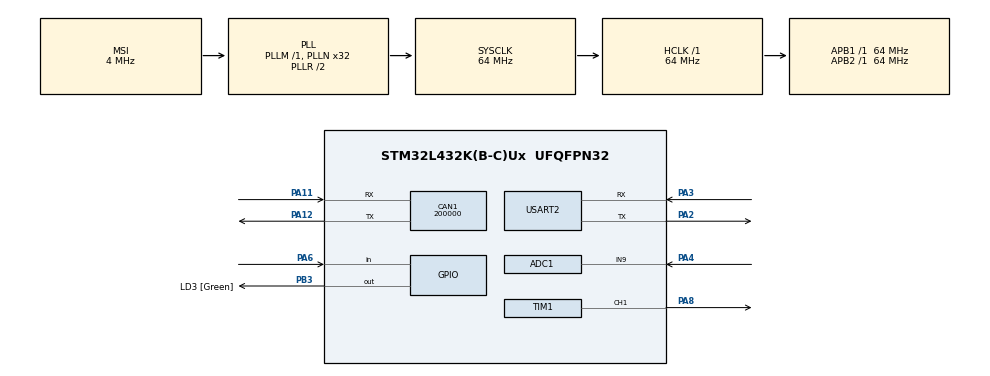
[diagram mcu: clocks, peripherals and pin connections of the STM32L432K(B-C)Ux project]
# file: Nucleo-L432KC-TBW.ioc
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ADC1.Channel-0\#ChannelRegularConversion=ADC_CHANNEL_9
ADC1.ClockPrescaler=ADC_CLOCK_ASYNC_DIV64
ADC1.ContinuousConvMode=DISABLE
ADC1.NbrOfConversionFlag=1
ADC1.OffsetNumber-0\#ChannelRegularConversion=ADC_OFFSET_NONE
ADC1.Rank-0\#ChannelRegularConversion=1
ADC1.SamplingTime-0\#ChannelRegularConversion=ADC_SAMPLETIME_12CYCLES_5
ADC1.master=1
CAN1.ABOM=ENABLE
CAN1.BS1=CAN_BS1_11TQ
CAN1.BS2=CAN_BS2_8TQ
CAN1.CalculateBaudRate=200000
CAN1.CalculateTimeBit=5000
CAN1.CalculateTimeQuantum=250.0
Mcu.Family=STM32L4
Mcu.Name=STM32L432K(B-C)Ux
Mcu.Package=UFQFPN32
NVIC.CAN1_RX0_IRQn=true\:0\:0\:false\:false\:true\:true\:true\:true
NVIC.CAN1_RX1_IRQn=true\:0\:0\:false\:false\:true\:true\:true\:true
NVIC.PriorityGroup=NVIC_PRIORITYGROUP_4
NVIC.TIM1_UP_TIM16_IRQn=true\:0\:0\:false\:false\:true\:true\:true\:true
NVIC.TIM6_DAC_IRQn=true\:0\:0\:false\:false\:true\:true\:true\:true
NVIC.TIM7_IRQn=true\:0\:0\:false\:false\:true\:true\:true\:true
PA0.GPIO_Label=MCO [High speed clock in]
PA0.Mode=HSE-External-Clock-Source-for-LittleOrca
PA0.Signal=RCC_CK_IN
PA11.Mode=CAN_Activate
PA11.Signal=CAN1_RX
PA12.Mode=CAN_Activate
PA12.Signal=CAN1_TX
PA13\ (JTMS-SWDIO).GPIO_Label=SWDIO
PA13\ (JTMS-SWDIO).Mode=Serial_Wire
PA13\ (JTMS-SWDIO).Signal=SYS_JTMS-SWDIO
PA14\ (JTCK-SWCLK).GPIO_Label=SWCLK
PA14\ (JTCK-SWCLK).Mode=Serial_Wire
PA14\ (JTCK-SWCLK).Signal=SYS_JTCK-SWCLK
PA2.Mode=Asynchronous
PA2.Signal=USART2_TX
PA3.Mode=Asynchronous
PA3.Signal=USART2_RX
PA4.Signal=SharedAnalog_PA4
PA6.Signal=GPIO_Input
PA8.Signal=S_TIM1_CH1
PB3\ (JTDO-TRACESWO).GPIO_Label=LD3 [Green]
PB3\ (JTDO-TRACESWO).Signal=GPIO_Output
PC14-OSC32_IN\ (PC14).Mode=LSE-External-Oscillator
PC14-OSC32_IN\ (PC14).Signal=RCC_OSC32_IN
PC15-OSC32_OUT\ (PC15).Mode=LSE-External-Oscillator
PC15-OSC32_OUT\ (PC15).Signal=RCC_OSC32_OUT
ProjectManager.HeapSize=0x200
ProjectManager.StackSize=0x400
ProjectManager.TargetToolchain=STM32CubeIDE
RCC.ADCFreq_Value=32000000
RCC.AHBFreq_Value=64000000
RCC.APB1Freq_Value=64000000
RCC.APB1TimFreq_Value=64000000
RCC.APB2Freq_Value=64000000
RCC.APB2TimFreq_Value=64000000
RCC.CortexFreq_Value=64000000
RCC.HCLKFreq_Value=64000000
RCC.HSE_VALUE=8000000
RCC.HSI16_VALUE=16000000
RCC.HSI48_VALUE=48000000
RCC.HSI_VALUE=16000000
RCC.MSI_VALUE=4000000
RCC.PLLMUL=RCC_PLLMUL_4
RCC.PLLN=32
RCC.PLLSAI1N=16
RCC.SYSCLKFreq_VALUE=64000000
RCC.SYSCLKSource=RCC_SYSCLKSOURCE_PLLCLK
RCC.USBFreq_Value=32000000
RCC.VCOOutputFreq_Value=128000000
SH.S_TIM1_CH1.0=TIM1_CH1,PWM Generation1 CH1
SH.SharedAnalog_PA4.0=GPIO_Analog
SH.SharedAnalog_PA4.1=ADC1_IN9,IN9-Single-Ended
TIM1.Channel-PWM\ Generation1\ CH1=TIM_CHANNEL_1
TIM1.Period=1999
TIM1.Prescaler=639
TIM1.Pulse-PWM\ Generation1\ CH1=100
TIM16.Period=20000
TIM16.Prescaler=160-1
TIM6.Period=10000
TIM6.Prescaler=16-1
TIM7.Period=1000
TIM7.Prescaler=16-1
USART2.VirtualMode-Asynchronous=VM_ASYNC
VP_TIM16_VS_ClockSourceINT.Mode=Enable_Timer
VP_TIM1_VS_ClockSourceINT.Mode=Internal
VP_TIM6_VS_ClockSourceINT.Mode=Enable_Timer
VP_TIM7_VS_ClockSourceINT.Mode=Enable_Timer
board=NUCLEO-L432KC

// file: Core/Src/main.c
/* USER CODE BEGIN Header */
/**
  ******************************************************************************
  * @file           : main.c
  * @brief          : Main program body
  ******************************************************************************
  * @attention
  *
  * Copyright (c) 2022 STMicroelectronics.
  * All rights reserved.
  *
  * This software is licensed under terms that can be found in the LICENSE file
  * in the root directory of this software component.
  * If no LICENSE file comes with this software, it is provided AS-IS.
  *
  ******************************************************************************
  */
/* USER CODE END Header */
#include "main.h"

/* USER CODE BEGIN Includes */

#include "stdio.h"

/* USER CODE END Includes */

ADC_HandleTypeDef hadc1;

CAN_HandleTypeDef hcan1;

TIM_HandleTypeDef htim1;
TIM_HandleTypeDef htim6;
TIM_HandleTypeDef htim7;
TIM_HandleTypeDef htim16;

UART_HandleTypeDef huart2;

void SystemClock_Config(void);
static void MX_GPIO_Init(void);
static void MX_USART2_UART_Init(void);
static void MX_CAN1_Init(void);
static void MX_TIM6_Init(void);
static void MX_TIM1_Init(void);
static void MX_TIM7_Init(void);
static void MX_TIM16_Init(void);
static void MX_ADC1_Init(void);

/* USER CODE BEGIN 0 */

CAN_TxHeaderTypeDef TxHeader;
CAN_RxHeaderTypeDef RxHeader;

uint32_t TxMailbox;

uint8_t CAN_TxData[4];
uint8_t CAN_RxData[4];

// important: don't convert to int or it will get reset to 0 for unknown reason
int motor_direction = 1;
int throttle_desired = 0;
int throttleRaw = 0;
float throttleVoltage = 0.0f;

int speed_sensor_val = 0;
int speed_sensor_pre = 0;

float speed_window1 = 0.0;
float speed_window2 = 0.0;
float speed_window3 = 0.0;
float speed_window4 = 0.0;
float speed_window5 = 0.0;

float speed_measured = 0.0;
float speed_desired = 0.0;
float speed_max = 6.0;
float speed_accumu = 0.0;

float wheel_diameter = 0.27;

// uart print to serial terminal for debugging purpose
int _write(int file, char *ptr, int len){
	HAL_UART_Transmit(&huart2, (uint8_t*)ptr, len, HAL_MAX_DELAY);
	return len;
}

void HAL_CAN_RxFifo0MsgPendingCallback(CAN_HandleTypeDef *hcan1)
{
  if (HAL_CAN_GetRxMessage(hcan1, CAN_RX_FIFO0, &RxHeader, CAN_RxData) != HAL_OK)
  {
    Error_Handler();
  }

  // 0x100 is the can device id of the main controller
  if ((RxHeader.StdId == 0x100))
  {
	  // first compute the brake percentage then the pressure needed
	  throttle_desired = CAN_RxData[2];
	  motor_direction = CAN_RxData[3];
  }
}

/*void HAL_ADC_ConvCpltCallback(ADC_HandleTypeDef* hadc)
{
	int raw = HAL_ADC_GetValue(&hadc1);
	throttleVoltage = (raw * 3.3f) / 4095.0f;
}*/
int throttlePWM;
void HAL_TIM_PeriodElapsedCallback(TIM_HandleTypeDef *htim) {
	// 100Hz = 10ms send out speed control ppm to vesc
	if (htim == &htim6){
	  if (motor_direction == 1){
		  TIM1->CCR1 = throttle_desired/2 + 150;
	  } else{
		  TIM1->CCR1 = -throttle_desired/2 + 150;
	  }

	  //with throttle, max is 3v, min is 0 -- scale this to 100 - 200 for PWM.

	  throttlePWM = (int)(100 + (throttleVoltage * 100 / 3));
	  // send out speed control ppm
  }

  // 1000Hz = 1ms read speed sensor for speed measurement
  if (htim == &htim7){
	  speed_sensor_val = HAL_GPIO_ReadPin(GPIOA, GPIO_PIN_6);

	  // we have a new magnet passing through
	  if(speed_sensor_val != speed_sensor_pre){
		  speed_accumu += 18.0; // 10 magnets (360/10/2 = 18 degrees per switch)
		  speed_sensor_pre = speed_sensor_val;
	  }
  }

  // 5Hz = 200ms compute speed using sliding window and send out info
  if (htim == &htim16){
	  speed_window5 = speed_window4;
	  speed_window4 = speed_window3;
	  speed_window3 = speed_window2;
	  speed_window2 = speed_window1;
	  speed_window1 = speed_accumu / 360.0 * wheel_diameter * 3.14 / 0.1;

	  speed_accumu = 0.0;
	  speed_measured = (speed_window1 + speed_window2 + speed_window3 + speed_window4 + speed_window5) / 5.0;

	  // send out measured speed to can bus
	  CAN_TxData[0] = (int)(speed_measured * 10.0);
	  HAL_CAN_AddTxMessage(&hcan1, &TxHeader, CAN_TxData, &TxMailbox);

	  printf("throttle desired: %d \r\n", throttle_desired);
	  printf("motor direction: %d \r\n", motor_direction);
	  printf("speed measured %.2f m/s \r\n", speed_measured);
  }
}

uint32_t current_duty_cycle = 0;

/* USER CODE END 0 */

int main(void)
{

  /* MCU Configuration--------------------------------------------------------*/

  /* Reset of all peripherals, Initializes the Flash interface and the Systick. */
  HAL_Init();

  /* Configure the system clock */
  SystemClock_Config();

  /* Initialize all configured peripherals */
  MX_GPIO_Init();
  MX_USART2_UART_Init();
  MX_CAN1_Init();
  MX_TIM6_Init();
  MX_TIM1_Init();
  MX_TIM7_Init();
  MX_TIM16_Init();
  MX_ADC1_Init();
  /* USER CODE BEGIN 2 */

  HAL_TIM_PWM_Start(&htim1, TIM_CHANNEL_1);

  /* USER CODE END 2 */

  /* Infinite loop */
  /* USER CODE BEGIN WHILE */
  while (1)
  {
	  //current_duty_cycle = TIM1->CCR1;

	  //read throttle
	  HAL_ADC_Start(&hadc1);
	  HAL_ADC_PollForConversion(&hadc1, 1000);
	  throttleRaw = HAL_ADC_GetValue(&hadc1);
	  throttleVoltage = (throttleRaw * 3.3f) / 4095.0f;
	  HAL_ADC_Stop(&hadc1);

	  //output pwm signal
	  __HAL_TIM_SET_COMPARE(&htim1, TIM_CHANNEL_1, throttlePWM); // duty_value from 0 to ARR
  }
    /* USER CODE END WHILE */

}

void SystemClock_Config(void)
{
  RCC_OscInitTypeDef RCC_OscInitStruct = {0};
  RCC_ClkInitTypeDef RCC_ClkInitStruct = {0};

  /** Configure the main internal regulator output voltage
  */
  if (HAL_PWREx_ControlVoltageScaling(PWR_REGULATOR_VOLTAGE_SCALE1) != HAL_OK)
  {
    Error_Handler();
  }

  /** Configure LSE Drive Capability
  */
  HAL_PWR_EnableBkUpAccess();
  __HAL_RCC_LSEDRIVE_CONFIG(RCC_LSEDRIVE_LOW);

  /** Initializes the RCC Oscillators according to the specified parameters
  * in the RCC_OscInitTypeDef structure.
  */
  RCC_OscInitStruct.OscillatorType = RCC_OSCILLATORTYPE_LSE|RCC_OSCILLATORTYPE_MSI;
  RCC_OscInitStruct.LSEState = RCC_LSE_ON;
  RCC_OscInitStruct.MSIState = RCC_MSI_ON;
  RCC_OscInitStruct.MSICalibrationValue = 0;
  RCC_OscInitStruct.MSIClockRange = RCC_MSIRANGE_6;
  RCC_OscInitStruct.PLL.PLLState = RCC_PLL_ON;
  RCC_OscInitStruct.PLL.PLLSource = RCC_PLLSOURCE_MSI;
  RCC_OscInitStruct.PLL.PLLM = 1;
  RCC_OscInitStruct.PLL.PLLN = 32;
  RCC_OscInitStruct.PLL.PLLP = RCC_PLLP_DIV7;
  RCC_OscInitStruct.PLL.PLLQ = RCC_PLLQ_DIV2;
  RCC_OscInitStruct.PLL.PLLR = RCC_PLLR_DIV2;
  if (HAL_RCC_OscConfig(&RCC_OscInitStruct) != HAL_OK)
  {
    Error_Handler();
  }

  /** Initializes the CPU, AHB and APB buses clocks
  */
  RCC_ClkInitStruct.ClockType = RCC_CLOCKTYPE_HCLK|RCC_CLOCKTYPE_SYSCLK
                              |RCC_CLOCKTYPE_PCLK1|RCC_CLOCKTYPE_PCLK2;
  RCC_ClkInitStruct.SYSCLKSource = RCC_SYSCLKSOURCE_PLLCLK;
  RCC_ClkInitStruct.AHBCLKDivider = RCC_SYSCLK_DIV1;
  RCC_ClkInitStruct.APB1CLKDivider = RCC_HCLK_DIV1;
  RCC_ClkInitStruct.APB2CLKDivider = RCC_HCLK_DIV1;

  if (HAL_RCC_ClockConfig(&RCC_ClkInitStruct, FLASH_LATENCY_3) != HAL_OK)
  {
    Error_Handler();
  }

  /** Enable MSI Auto calibration
  */
  HAL_RCCEx_EnableMSIPLLMode();
}

static void MX_ADC1_Init(void)
{

  ADC_ChannelConfTypeDef sConfig = {0};

  /** Common config
  */
  hadc1.Instance = ADC1;
  hadc1.Init.ClockPrescaler = ADC_CLOCK_ASYNC_DIV64;
  hadc1.Init.Resolution = ADC_RESOLUTION_12B;
  hadc1.Init.DataAlign = ADC_DATAALIGN_RIGHT;
  hadc1.Init.ScanConvMode = ADC_SCAN_DISABLE;
  hadc1.Init.EOCSelection = ADC_EOC_SINGLE_CONV;
  hadc1.Init.LowPowerAutoWait = DISABLE;
  hadc1.Init.ContinuousConvMode = DISABLE;
  hadc1.Init.NbrOfConversion = 1;
  hadc1.Init.DiscontinuousConvMode = DISABLE;
  hadc1.Init.ExternalTrigConv = ADC_SOFTWARE_START;
  hadc1.Init.ExternalTrigConvEdge = ADC_EXTERNALTRIGCONVEDGE_NONE;
  hadc1.Init.DMAContinuousRequests = DISABLE;
  hadc1.Init.Overrun = ADC_OVR_DATA_PRESERVED;
  hadc1.Init.OversamplingMode = DISABLE;
  if (HAL_ADC_Init(&hadc1) != HAL_OK)
  {
    Error_Handler();
  }

  /** Configure Regular Channel
  */
  sConfig.Channel = ADC_CHANNEL_9;
  sConfig.Rank = ADC_REGULAR_RANK_1;
  sConfig.SamplingTime = ADC_SAMPLETIME_12CYCLES_5;
  sConfig.SingleDiff = ADC_SINGLE_ENDED;
  sConfig.OffsetNumber = ADC_OFFSET_NONE;
  sConfig.Offset = 0;
  if (HAL_ADC_ConfigChannel(&hadc1, &sConfig) != HAL_OK)
  {
    Error_Handler();
  }

}

static void MX_CAN1_Init(void)
{

  /* USER CODE BEGIN CAN1_Init 0 */
  TxHeader.DLC = 4;
  TxHeader.ExtId = 0;
  TxHeader.IDE = CAN_ID_STD;
  TxHeader.RTR = CAN_RTR_DATA;
  TxHeader.StdId = 0x101;
  TxHeader.TransmitGlobalTime = DISABLE;

  /* USER CODE END CAN1_Init 0 */

  hcan1.Instance = CAN1;
  hcan1.Init.Prescaler = 16;
  hcan1.Init.Mode = CAN_MODE_NORMAL;
  hcan1.Init.SyncJumpWidth = CAN_SJW_1TQ;
  hcan1.Init.TimeSeg1 = CAN_BS1_11TQ;
  hcan1.Init.TimeSeg2 = CAN_BS2_8TQ;
  hcan1.Init.TimeTriggeredMode = DISABLE;
  hcan1.Init.AutoBusOff = ENABLE;
  hcan1.Init.AutoWakeUp = DISABLE;
  hcan1.Init.AutoRetransmission = DISABLE;
  hcan1.Init.ReceiveFifoLocked = DISABLE;
  hcan1.Init.TransmitFifoPriority = DISABLE;
  if (HAL_CAN_Init(&hcan1) != HAL_OK)
  {
    Error_Handler();
  }
  /* USER CODE BEGIN CAN1_Init 2 */

  CAN_FilterTypeDef canfilterconfig;

  canfilterconfig.FilterActivation = CAN_FILTER_ENABLE;
  canfilterconfig.FilterBank = 10;  // which filter bank to use from the assigned ones
  canfilterconfig.FilterFIFOAssignment = CAN_FILTER_FIFO0;
  canfilterconfig.FilterIdHigh = 0;
  canfilterconfig.FilterIdLow = 0x0000;
  canfilterconfig.FilterMaskIdHigh = 0;
  canfilterconfig.FilterMaskIdLow = 0x0000;
  canfilterconfig.FilterMode = CAN_FILTERMODE_IDMASK;
  canfilterconfig.FilterScale = CAN_FILTERSCALE_32BIT;
  canfilterconfig.SlaveStartFilterBank = 20;  // how many filters to assign to the CAN1 (master can)

  HAL_CAN_ConfigFilter(&hcan1, &canfilterconfig);
  HAL_CAN_Start(&hcan1);
  HAL_CAN_ActivateNotification(&hcan1, CAN_IT_RX_FIFO0_MSG_PENDING);

  /* USER CODE END CAN1_Init 2 */

}

static void MX_TIM1_Init(void)
{

  TIM_ClockConfigTypeDef sClockSourceConfig = {0};
  TIM_MasterConfigTypeDef sMasterConfig = {0};
  TIM_OC_InitTypeDef sConfigOC = {0};
  TIM_BreakDeadTimeConfigTypeDef sBreakDeadTimeConfig = {0};

  htim1.Instance = TIM1;
  htim1.Init.Prescaler = 639;
  htim1.Init.CounterMode = TIM_COUNTERMODE_UP;
  htim1.Init.Period = 1999;
  htim1.Init.ClockDivision = TIM_CLOCKDIVISION_DIV1;
  htim1.Init.RepetitionCounter = 0;
  htim1.Init.AutoReloadPreload = TIM_AUTORELOAD_PRELOAD_DISABLE;
  if (HAL_TIM_Base_Init(&htim1) != HAL_OK)
  {
    Error_Handler();
  }
  sClockSourceConfig.ClockSource = TIM_CLOCKSOURCE_INTERNAL;
  if (HAL_TIM_ConfigClockSource(&htim1, &sClockSourceConfig) != HAL_OK)
  {
    Error_Handler();
  }
  if (HAL_TIM_PWM_Init(&htim1) != HAL_OK)
  {
    Error_Handler();
  }
  sMasterConfig.MasterOutputTrigger = TIM_TRGO_RESET;
  sMasterConfig.MasterOutputTrigger2 = TIM_TRGO2_RESET;
  sMasterConfig.MasterSlaveMode = TIM_MASTERSLAVEMODE_DISABLE;
  if (HAL_TIMEx_MasterConfigSynchronization(&htim1, &sMasterConfig) != HAL_OK)
  {
    Error_Handler();
  }
  sConfigOC.OCMode = TIM_OCMODE_PWM1;
  sConfigOC.Pulse = 100;
  sConfigOC.OCPolarity = TIM_OCPOLARITY_HIGH;
  sConfigOC.OCNPolarity = TIM_OCNPOLARITY_HIGH;
  sConfigOC.OCFastMode = TIM_OCFAST_DISABLE;
  sConfigOC.OCIdleState = TIM_OCIDLESTATE_RESET;
  sConfigOC.OCNIdleState = TIM_OCNIDLESTATE_RESET;
  if (HAL_TIM_PWM_ConfigChannel(&htim1, &sConfigOC, TIM_CHANNEL_1) != HAL_OK)
  {
    Error_Handler();
  }
  sBreakDeadTimeConfig.OffStateRunMode = TIM_OSSR_DISABLE;
  sBreakDeadTimeConfig.OffStateIDLEMode = TIM_OSSI_DISABLE;
  sBreakDeadTimeConfig.LockLevel = TIM_LOCKLEVEL_OFF;
  sBreakDeadTimeConfig.DeadTime = 0;
  sBreakDeadTimeConfig.BreakState = TIM_BREAK_DISABLE;
  sBreakDeadTimeConfig.BreakPolarity = TIM_BREAKPOLARITY_HIGH;
  sBreakDeadTimeConfig.BreakFilter = 0;
  sBreakDeadTimeConfig.Break2State = TIM_BREAK2_DISABLE;
  sBreakDeadTimeConfig.Break2Polarity = TIM_BREAK2POLARITY_HIGH;
  sBreakDeadTimeConfig.Break2Filter = 0;
  sBreakDeadTimeConfig.AutomaticOutput = TIM_AUTOMATICOUTPUT_DISABLE;
  if (HAL_TIMEx_ConfigBreakDeadTime(&htim1, &sBreakDeadTimeConfig) != HAL_OK)
  {
    Error_Handler();
  }
  /* USER CODE BEGIN TIM1_Init 2 */
  HAL_TIM_PWM_Start(&htim1, TIM_CHANNEL_1);

  /* USER CODE END TIM1_Init 2 */
  HAL_TIM_MspPostInit(&htim1);

}

static void MX_TIM6_Init(void)
{

  TIM_MasterConfigTypeDef sMasterConfig = {0};

  htim6.Instance = TIM6;
  htim6.Init.Prescaler = 16-1;
  htim6.Init.CounterMode = TIM_COUNTERMODE_UP;
  htim6.Init.Period = 10000;
  htim6.Init.AutoReloadPreload = TIM_AUTORELOAD_PRELOAD_DISABLE;
  if (HAL_TIM_Base_Init(&htim6) != HAL_OK)
  {
    Error_Handler();
  }
  sMasterConfig.MasterOutputTrigger = TIM_TRGO_RESET;
  sMasterConfig.MasterSlaveMode = TIM_MASTERSLAVEMODE_DISABLE;
  if (HAL_TIMEx_MasterConfigSynchronization(&htim6, &sMasterConfig) != HAL_OK)
  {
    Error_Handler();
  }
  /* USER CODE BEGIN TIM6_Init 2 */
  HAL_TIM_Base_Start_IT(&htim6);
  /* USER CODE END TIM6_Init 2 */

}

static void MX_TIM7_Init(void)
{

  TIM_MasterConfigTypeDef sMasterConfig = {0};

  htim7.Instance = TIM7;
  htim7.Init.Prescaler = 16-1;
  htim7.Init.CounterMode = TIM_COUNTERMODE_UP;
  htim7.Init.Period = 1000;
  htim7.Init.AutoReloadPreload = TIM_AUTORELOAD_PRELOAD_DISABLE;
  if (HAL_TIM_Base_Init(&htim7) != HAL_OK)
  {
    Error_Handler();
  }
  sMasterConfig.MasterOutputTrigger = TIM_TRGO_RESET;
  sMasterConfig.MasterSlaveMode = TIM_MASTERSLAVEMODE_DISABLE;
  if (HAL_TIMEx_MasterConfigSynchronization(&htim7, &sMasterConfig) != HAL_OK)
  {
    Error_Handler();
  }
  /* USER CODE BEGIN TIM7_Init 2 */
  HAL_TIM_Base_Start_IT(&htim7);
  /* USER CODE END TIM7_Init 2 */

}

static void MX_TIM16_Init(void)
{

  htim16.Instance = TIM16;
  htim16.Init.Prescaler = 160-1;
  htim16.Init.CounterMode = TIM_COUNTERMODE_UP;
  htim16.Init.Period = 20000;
  htim16.Init.ClockDivision = TIM_CLOCKDIVISION_DIV1;
  htim16.Init.RepetitionCounter = 0;
  htim16.Init.AutoReloadPreload = TIM_AUTORELOAD_PRELOAD_DISABLE;
  if (HAL_TIM_Base_Init(&htim16) != HAL_OK)
  {
    Error_Handler();
  }
  /* USER CODE BEGIN TIM16_Init 2 */
  HAL_TIM_Base_Start_IT(&htim16);
  /* USER CODE END TIM16_Init 2 */

}

static void MX_USART2_UART_Init(void)
{

  huart2.Instance = USART2;
  huart2.Init.BaudRate = 115200;
  huart2.Init.WordLength = UART_WORDLENGTH_8B;
  huart2.Init.StopBits = UART_STOPBITS_1;
  huart2.Init.Parity = UART_PARITY_NONE;
  huart2.Init.Mode = UART_MODE_TX_RX;
  huart2.Init.HwFlowCtl = UART_HWCONTROL_NONE;
  huart2.Init.OverSampling = UART_OVERSAMPLING_16;
  huart2.Init.OneBitSampling = UART_ONE_BIT_SAMPLE_DISABLE;
  huart2.AdvancedInit.AdvFeatureInit = UART_ADVFEATURE_NO_INIT;
  if (HAL_UART_Init(&huart2) != HAL_OK)
  {
    Error_Handler();
  }

}

static void MX_GPIO_Init(void)
{
  GPIO_InitTypeDef GPIO_InitStruct = {0};

  /* GPIO Ports Clock Enable */
  __HAL_RCC_GPIOC_CLK_ENABLE();
  __HAL_RCC_GPIOA_CLK_ENABLE();
  __HAL_RCC_GPIOB_CLK_ENABLE();

  /*Configure GPIO pin Output Level */
  HAL_GPIO_WritePin(LD3_GPIO_Port, LD3_Pin, GPIO_PIN_RESET);

  /*Configure GPIO pin : PA6 */
  GPIO_InitStruct.Pin = GPIO_PIN_6;
  GPIO_InitStruct.Mode = GPIO_MODE_INPUT;
  GPIO_InitStruct.Pull = GPIO_NOPULL;
  HAL_GPIO_Init(GPIOA, &GPIO_InitStruct);

  /*Configure GPIO pin : LD3_Pin */
  GPIO_InitStruct.Pin = LD3_Pin;
  GPIO_InitStruct.Mode = GPIO_MODE_OUTPUT_PP;
  GPIO_InitStruct.Pull = GPIO_NOPULL;
  GPIO_InitStruct.Speed = GPIO_SPEED_FREQ_LOW;
  HAL_GPIO_Init(LD3_GPIO_Port, &GPIO_InitStruct);

}

void Error_Handler(void)
{
  __disable_irq();
  while (1)
  {
  }
}
